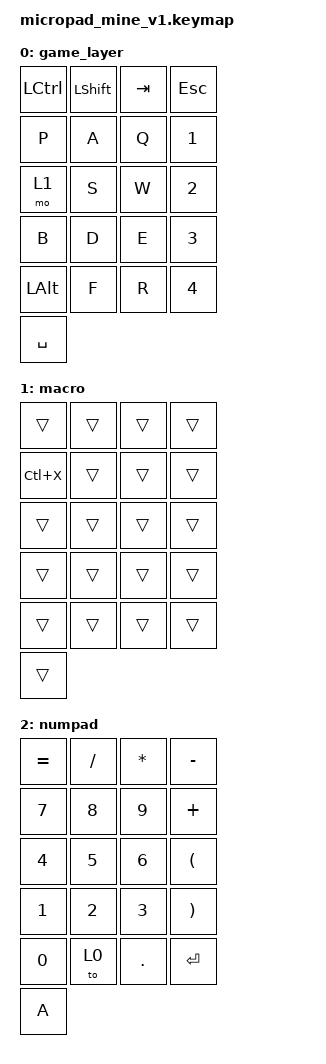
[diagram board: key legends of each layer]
#include <behaviors.dtsi>
#include <dt-bindings/zmk/keys.h>
#include <dt-bindings/zmk/keys.h>

#define L_NUMPAD  0
#define L_GAME    1

/ {
    macros {
        e_acc_aigue: e_acc_aigue {
            compatible = "zmk,behavior-macro";
            #binding-cells = <0>;
            bindings = <&kp N0 &kp N2 &kp NUMBER_3 &kp N3>;
            label = "E_ACC_AIGUE";
        };

        e_acc_grave: e_acc_grave {
            compatible = "zmk,behavior-macro";
            #binding-cells = <0>;
            bindings = <&kp LA(N0) &kp LA(N2) &kp LA(N3) &kp LA(N2)>;
            label = "E_ACC_GRAVE";
        };

        e_acc_chap: e_acc_chap {
            compatible = "zmk,behavior-macro";
            #binding-cells = <0>;
            bindings = <&kp LA(N0) &kp LA(N2) &kp LA(N3) &kp LA(N4)>;
            label = "E_ACC_CHAP";
        };

        c_cedil: c_cedil {
            compatible = "zmk,behavior-macro";
            #binding-cells = <0>;
            bindings = <&kt LEFT_ALT &kp KP_NUMBER_0 &kp KP_NUMBER_2 &kp KP_NUMBER_3 &kp KP_NUMBER_1 &kt LEFT_ALT>;
            label = "C_CEDIL";
        };
    };

    keymap {
        compatible = "zmk,keymap";

        game_layer {
            bindings = <
&kp LCTRL     &kp LEFT_SHIFT  &kp TAB  &kp ESCAPE
&kp P         &kp A           &kp Q    &kp NUMBER_1
&mo 1         &kp S           &kp W    &kp NUMBER_2
&kp B         &kp D           &kp E    &kp NUMBER_3
&kp LEFT_ALT  &kp F           &kp R    &kp NUMBER_4
&kp SPACE
            >;
        };

        macro {
            bindings = <
&trans     &trans  &trans  &trans
&kp LC(X)  &trans  &trans  &trans
&trans     &trans  &trans  &trans
&trans     &trans  &trans  &trans
&trans     &trans  &trans  &trans
&trans
            >;
        };

        numpad {
            bindings = <
&kp EQUAL     &kp SLASH     &kp ASTERISK  &kp MINUS
&kp N7        &kp N8        &kp N9        &kp PLUS
&kp NUMBER_4  &kp N5        &kp NUMBER_6  &kp LEFT_PARENTHESIS
&kp NUMBER_1  &kp NUMBER_2  &kp NUMBER_3  &kp RIGHT_PARENTHESIS
&kp N0        &to 0         &kp DOT       &kp ENTER
&kp A
            >;
        };
    };
};
